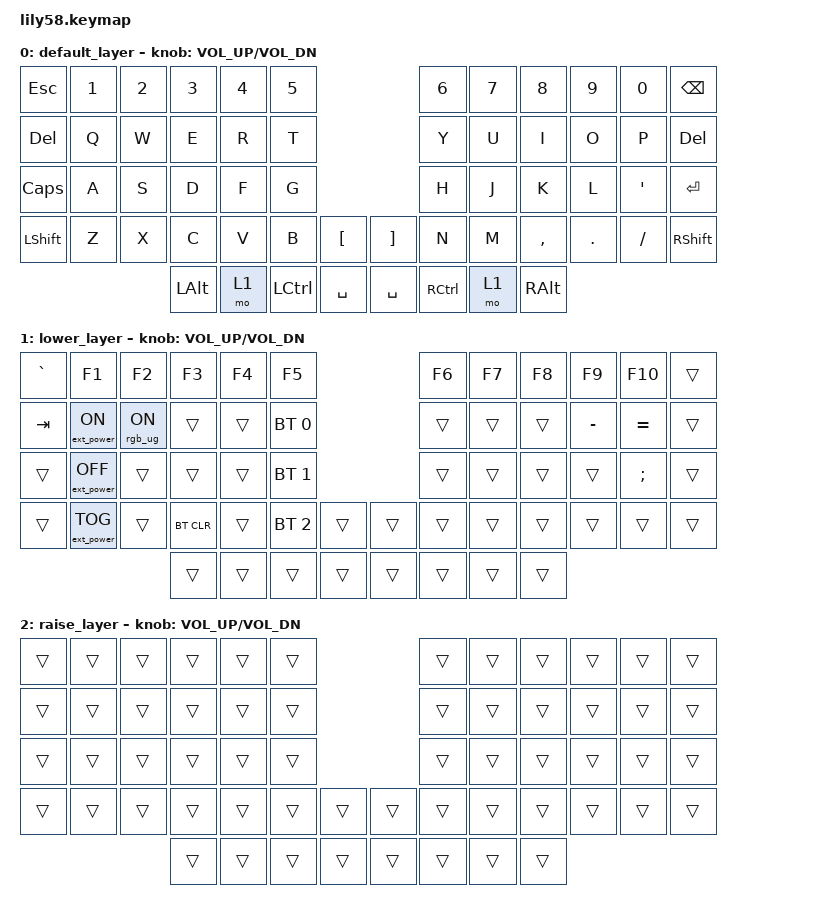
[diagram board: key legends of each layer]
/*
 * Copyright (c) 2020 The ZMK Contributors
 *
 * SPDX-License-Identifier: MIT
 */

#include <behaviors.dtsi>
#include <dt-bindings/zmk/keys.h>
#include <dt-bindings/zmk/bt.h>
#include <dt-bindings/zmk/rgb.h>
#include <dt-bindings/zmk/ext_power.h>

/ {
    keymap {
        compatible = "zmk,keymap";

        default_layer {
// ------------------------------------------------------------------------------------------------------------
// |  ESC  |  1  |  2  |  3     |  4     |  5   |                       |  6   |  7     |  8    |  9   |   0   | BACKSPC |
// |  DEL  |  Q  |  W  |  E     |  R     |  T   |                       |  Y   |  U     |  I    |  O   |   P   |  DEL    |
// |  CAPS |  A  |  S  |  D     |  F     |  G   |                       |  H   |  J     |  K    |  L   |   "   | ENTER   |
// | SHIFT |  Z  |  X  |  C     |  V     |  B   |   "["  |  |  "]"      |  N   |  M     |  ,    |  .   |   /   | SHIFT   |
//                     | CTRL   | LAYER1 | ALT  |  SPACE |  | SPACE     | ALT  | LAYER2 | CTRL  |
            bindings = <
&kp ESC   &kp N1 &kp N2 &kp N3    &kp N4   &kp N5                            &kp N6     &kp N7   &kp N8    &kp N9  &kp N0           &kp BSPC
&kp DEL   &kp Q  &kp W  &kp E     &kp R    &kp T                             &kp Y      &kp U    &kp I     &kp O   &kp P            &kp DEL
&kp CAPS  &kp A  &kp S  &kp D     &kp F    &kp G                             &kp H      &kp J    &kp K     &kp L   &kp SINGLE_QUOTE &kp RETURN
&kp LSHFT &kp Z  &kp X  &kp C     &kp V    &kp B      &kp LBKT    &kp RBKT   &kp N      &kp M    &kp COMMA &kp DOT &kp FSLH         &kp RSHFT
                        &kp LALT  &mo 1    &kp LCTRL  &kp SPACE   &kp SPACE  &kp RCTRL  &mo 1    &kp RALT
            >;

            sensor-bindings = <&inc_dec_kp C_VOL_UP C_VOL_DN>;
        };

        lower_layer {
// ------------------------------------------------------------------------------------------------------------
// |  `/~   | F1           | F2    |  F3      |  F4  |  F5  |                 |  F6  |  F7   |   F8  |  F9  |  F10  |       |
// |  TAB   |POWER ON      |       |          |      |  BT1 |                 |      |       |       |   -  |  =/+  |       |
// |        |POWER OFF     |       |          |      |  BT2 |                 |      |       |       |      |  ;/:  |       |
// |        |POWER TOGGLE  |       | BT CLR   |      |  BT3 |       |  |      |      |       |       |      |       |       |
//                               |        |          |         |        |    |       |     |      |       |
            bindings = <
&kp GRAVE     &kp F1            &kp F2             &kp F3             &kp F4       &kp F5                             &kp F6    &kp F7    &kp F8    &kp F9    &kp F10    &trans
&kp TAB       &ext_power EP_ON  &rgb_ug RGB_ON     &trans             &trans       &bt BT_SEL 0                       &trans    &trans    &trans    &kp MINUS &kp EQUAL  &trans
&trans        &ext_power EP_OFF &trans             &trans             &trans       &bt BT_SEL 1                       &trans    &trans    &trans    &trans    &kp SEMI   &trans
&trans        &ext_power EP_TOG &trans             &bt BT_CLR         &trans       &bt BT_SEL 2   &trans     &trans   &trans    &trans    &trans    &trans    &trans     &trans
                                              &trans             &trans       &trans              &trans     &trans       &trans    &trans    &trans
            >;

            sensor-bindings = <&inc_dec_kp C_VOL_UP C_VOL_DN>;
        };

        raise_layer {
// ------------------------------------------------------------------------------------------------------------
// |       |     |     |      |      |      |                      |      |       |       |      |       |       |
// |       |     |     |      |      |      |                      |      |       |       |      |       |       |
// |       |     |     |      |      |      |                      |      |       |       |      |       |       |
// |       |     |     |      |      |      |        |     |       |      |       |       |      |       |       |
//                     |      |      |      |        |     |       |      |       |       |
            bindings = <
&trans    &trans &trans &trans  &trans  &trans                       &trans      &trans    &trans    &trans   &trans    &trans
&trans    &trans &trans &trans  &trans  &trans                       &trans      &trans    &trans    &trans   &trans    &trans
&trans    &trans &trans &trans  &trans  &trans                       &trans      &trans    &trans    &trans   &trans    &trans
&trans    &trans &trans &trans  &trans  &trans    &trans   &trans    &trans      &trans    &trans    &trans   &trans    &trans
                        &trans  &trans  &trans    &trans   &trans    &trans      &trans    &trans
            >;

            sensor-bindings = <&inc_dec_kp C_VOL_UP C_VOL_DN>;
        };
    };
};
